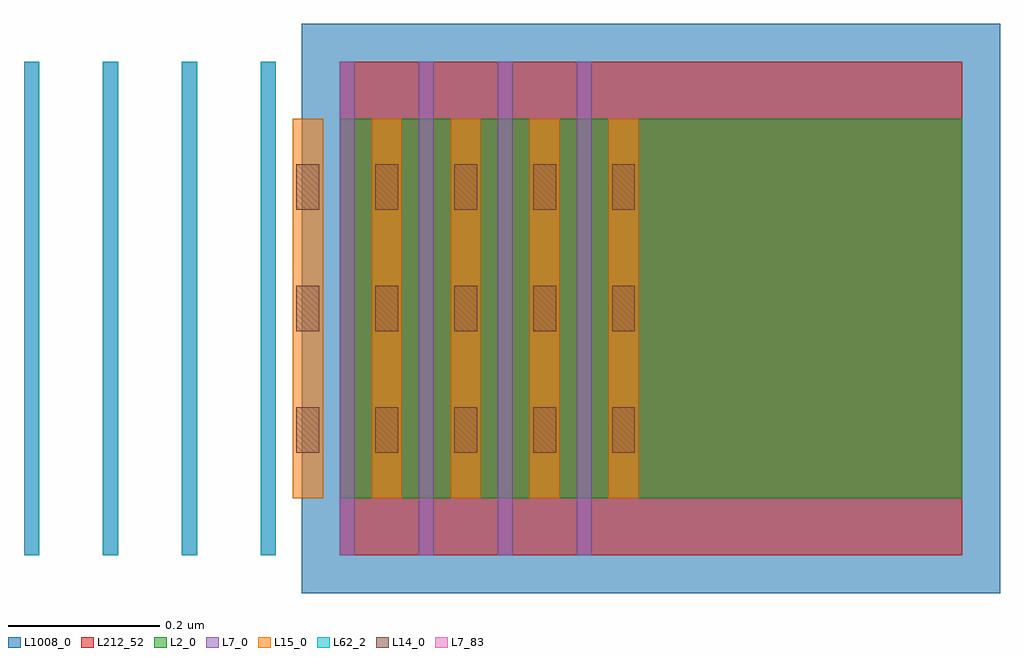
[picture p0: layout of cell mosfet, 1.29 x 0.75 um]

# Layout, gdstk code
import gdstk
lib = gdstk.Library(unit=1e-6, precision=1e-09)
def R(c, l, rs):  # rectangles x0, y0, x1, y1
    for r in rs: c.add(gdstk.rectangle(r[:2], r[2:], *l))
def A(c, l, x, y, w, h, nx, ny, dx, dy):  # array of equal rectangles
    R(c, l, [(x+i*dx, y+j*dy, x+i*dx+w, y+j*dy+h) for i in range(nx) for j in range(ny)])
def P(c, l, *ps):  # polygons
    for p in ps: c.add(gdstk.Polygon(p, *l))
L2_0 = (2, 0)
L7_0 = (7, 0)
L7_83 = (7, 83)
L14_0 = (14, 0)
L15_0 = (15, 0)
L62_2 = (62, 2)
L212_52 = (212, 52)
L1008_0 = (1008, 0)

mosfet = lib.new_cell('mosfet')
R(mosfet, L2_0, [(0,0,0.82,0.5)])
A(mosfet, L7_0, -0.416, -0.075, 0.02, 0.65, 8, 1, 0.104, 0)
P(mosfet, L7_0, [(-0.416,-0.075),(-0.416,-0.075),(-0.416,0.575),(-0.416,0.575)])
P(mosfet, L7_83, [(-0.416,-0.075),(-0.416,-0.075),(-0.416,0.575),(-0.416,0.575)])
A(mosfet, L14_0, -0.057, 0.06, 0.03, 0.06, 5, 3, 0.104, 0.16)
A(mosfet, L15_0, -0.062, 0, 0.04, 0.5, 5, 1, 0.104, 0)
A(mosfet, L62_2, -0.416, -0.075, 0.02, 0.65, 4, 1, 0.104, 0)
R(mosfet, L212_52, [(0,-0.075,0.82,0.575)])
R(mosfet, L1008_0, [(-0.05,-0.125,0.87,0.625)])

lib.write_gds('mosfet.gds')
